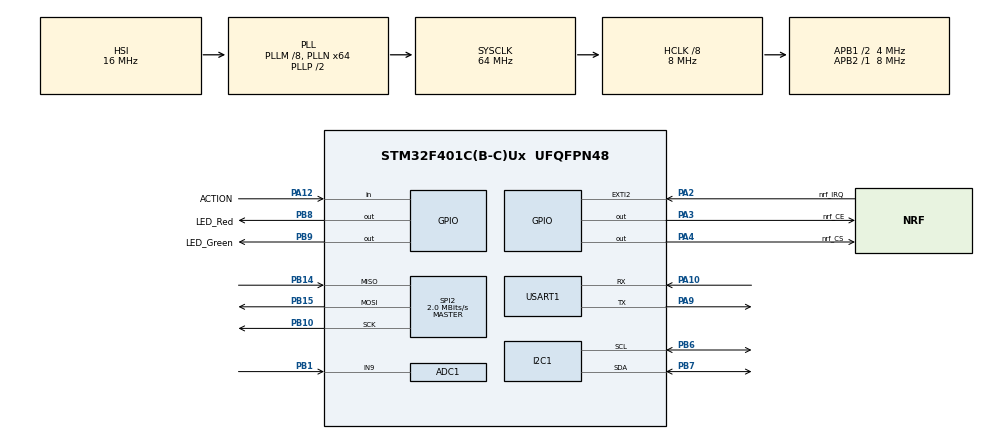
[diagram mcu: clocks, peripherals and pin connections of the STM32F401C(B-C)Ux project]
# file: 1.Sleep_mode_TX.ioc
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ADC1.Channel-0\#ChannelRegularConversion=ADC_CHANNEL_9
ADC1.NbrOfConversionFlag=1
ADC1.Rank-0\#ChannelRegularConversion=1
ADC1.SamplingTime-0\#ChannelRegularConversion=ADC_SAMPLETIME_3CYCLES
ADC1.master=1
Mcu.Family=STM32F4
Mcu.Name=STM32F401C(B-C)Ux
Mcu.Package=UFQFPN48
NVIC.ADC_IRQn=true\:0\:0\:false\:false\:true\:true\:true\:true
NVIC.EXTI2_IRQn=true\:0\:0\:false\:false\:true\:true\:true\:true
NVIC.PriorityGroup=NVIC_PRIORITYGROUP_4
PA0-WKUP.Mode=SYS_WakeUp0
PA0-WKUP.Signal=SYS_WKUP
PA10.Mode=Asynchronous
PA10.Signal=USART1_RX
PA12.GPIO_Label=ACTION
PA12.Signal=GPIO_Input
PA13.Mode=Serial_Wire
PA13.Signal=SYS_JTMS-SWDIO
PA14.Mode=Serial_Wire
PA14.Signal=SYS_JTCK-SWCLK
PA2.GPIO_Label=nrf_IRQ
PA2.GPIO_ModeDefaultEXTI=GPIO_MODE_IT_FALLING
PA2.Signal=GPXTI2
PA3.GPIO_Label=nrf_CE
PA3.Signal=GPIO_Output
PA4.GPIO_Label=nrf_CS
PA4.Signal=GPIO_Output
PA9.Mode=Asynchronous
PA9.Signal=USART1_TX
PB1.Signal=ADCx_IN9
PB10.Mode=Full_Duplex_Master
PB10.Signal=SPI2_SCK
PB14.Mode=Full_Duplex_Master
PB14.Signal=SPI2_MISO
PB15.Mode=Full_Duplex_Master
PB15.Signal=SPI2_MOSI
PB6.Mode=I2C
PB6.Signal=I2C1_SCL
PB7.Mode=I2C
PB7.Signal=I2C1_SDA
PB8.GPIO_Label=LED_Red
PB8.Signal=GPIO_Output
PB9.GPIO_Label=LED_Green
PB9.Signal=GPIO_Output
ProjectManager.HeapSize=0x200
ProjectManager.StackSize=0x400
ProjectManager.TargetToolchain=STM32CubeIDE
RCC.48MHZClocksFreq_Value=32000000
RCC.AHBCLKDivider=RCC_SYSCLK_DIV8
RCC.AHBFreq_Value=8000000
RCC.APB1CLKDivider=RCC_HCLK_DIV2
RCC.APB1Freq_Value=4000000
RCC.APB1TimFreq_Value=8000000
RCC.APB2Freq_Value=8000000
RCC.APB2TimFreq_Value=8000000
RCC.CortexFreq_Value=8000000
RCC.HCLKFreq_Value=8000000
RCC.HSE_VALUE=25000000
RCC.HSI_VALUE=16000000
RCC.LSE_VALUE=32768
RCC.PLLM=8
RCC.PLLN=64
RCC.SYSCLKFreq_VALUE=64000000
RCC.SYSCLKSource=RCC_SYSCLKSOURCE_PLLCLK
RCC.VCOOutputFreq_Value=128000000
SH.ADCx_IN9.0=ADC1_IN9,IN9
SPI2.BaudRatePrescaler=SPI_BAUDRATEPRESCALER_2
SPI2.CalculateBaudRate=2.0 MBits/s
SPI2.Direction=SPI_DIRECTION_2LINES
SPI2.Mode=SPI_MODE_MASTER
SPI2.VirtualType=VM_MASTER
USART1.VirtualMode=VM_ASYNC
VP_RTC_VS_RTC_Activate.Mode=RTC_Enabled
VP_RTC_VS_RTC_WakeUp_intern.Mode=WakeUp
board=custom

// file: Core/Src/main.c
/* USER CODE BEGIN Header */
/**
  ******************************************************************************
  * @file           : main.c
  * @brief          : Main program body
  ******************************************************************************
  * @attention
  *
  * Copyright (c) 2024 STMicroelectronics.
  * All rights reserved.
  *
  * This software is licensed under terms that can be found in the LICENSE file
  * in the root directory of this software component.
  * If no LICENSE file comes with this software, it is provided AS-IS.
  *
  ******************************************************************************
  */
/* USER CODE END Header */
#include "main.h"

/* USER CODE BEGIN Includes */
#include "stm32f4xx_hal.h"
#include "stm32f4xx_hal_gpio.h"

#include "BME280/bme280_defs.h"
#include "BME280/bme280.h"
#include "nrf24L01/nrf24L01.h"
#include "DS3231/ds3231.h"
#include "BME280/main_bme280.h"
#include "BATTERY_VOLTAGE/adc_voltage.h"
#include "RTC_DATA/rtc_data_write_read.h"
#include "LEDs/leds.h"
#include "DS3231/main_ds3231.h"
#include "INTERNAL_RTC_TIME/internal_rtc_time.h"

/* USER CODE END Includes */

/* USER CODE BEGIN PD */

// Set wakeUp time
const float  Wake_up_Time_Base = 16.0f/32000.0f;     //0.0005 s
const int WakeUpCounter_1_sec = 1/Wake_up_Time_Base;
const int WakeUpCounter_5_sec = 5/Wake_up_Time_Base;
const int WakeUpCounter_10_sec = 10/Wake_up_Time_Base;

/* USER CODE END PD */

/* USER CODE BEGIN PM */

void send_data(int delay);

/* USER CODE END PM */

ADC_HandleTypeDef hadc1;

I2C_HandleTypeDef hi2c1;

RTC_HandleTypeDef hrtc;

SPI_HandleTypeDef hspi2;

UART_HandleTypeDef huart1;

void SystemClock_Config(void);
static void MX_GPIO_Init(void);
static void MX_RTC_Init(void);
static void MX_I2C1_Init(void);
static void MX_USART1_UART_Init(void);
static void MX_SPI2_Init(void);
static void MX_ADC1_Init(void);

/* USER CODE BEGIN 0 */

// --------------------------------------------------------------------------------------
void settings_mode(void)
{

}
// --------------------------------------------------------------------------------------
void counter(char* buff)
{

}
// --------------------------------------------------------------------------------------
void send_data(int delay)
{
	  // If button was presset more than 5 sec, go to settings mode
	if(HAL_GPIO_ReadPin(GPIOA, ACTION_Pin) == 1)
	{
#if UART_LOG == ON
		char buf_uart_tx[50] = {0,};
		sprintf(buf_uart_tx, "Settings mode\n\r");
		HAL_UART_Transmit(&huart1, buf_uart_tx, sizeof(buf_uart_tx), 1000);
#endif
		led_test_blink(10, 800);
		settings_mode();
	}

	char tramsmeet_data_buffer[70] = {0,};
	char buf_uart_tx[50] = {0,};

#if LED == ON
	GREEN_LED_ON;
#endif
	get_THP_bme280(tramsmeet_data_buffer); 				// Meassure T, H and P
	meassure_battery_voltage(tramsmeet_data_buffer);  	// Meassure voltage on battery
	//read_time_internal_RTC(tramsmeet_data_buffer);

#if UART_LOG == ON
	memset(buf_uart_tx, 0, sizeof(buf_uart_tx));
	sprintf(buf_uart_tx, "TX data: %s \n\r", tramsmeet_data_buffer);
	HAL_UART_Transmit(&huart1, buf_uart_tx, sizeof(buf_uart_tx), 1000);
#endif
	uint8_t dt = 0 ;
	char buf_1[25] = {0,};

	uint32_t RTC_retransmit_packets_cpunter = ReadBackupRegister(RTC_COUNTER_RETRANSMITED_PACKET);
	uint32_t RTC_lost_packets_cpunter = ReadBackupRegister(RTC_COUNTER_LOST_PACKET);
	uint32_t RTC_counter = ReadBackupRegister(RTC_COUNTER_PACKET);

	memset(buf_1, 0, sizeof(buf_1));
	sprintf(buf_1, "C%dR%dL%d", RTC_counter, RTC_retransmit_packets_cpunter, RTC_lost_packets_cpunter);
	strcat(tramsmeet_data_buffer, buf_1);

	NRF24_init_TX(0, 10, 0, 15, 0, 0);
	dt = NRF24L01_Transmit(1, tramsmeet_data_buffer);

	uint8_t retr_packages  = dt & 0xF;			// Select retransmit packets
	uint8_t lost_packages = dt & 0xF0;			// Select lost packets

	// Save data into RTC memory
	WriteBackupRegister(retr_packages, RTC_COUNTER_RETRANSMITED_PACKET);
	WriteBackupRegister(lost_packages, RTC_COUNTER_LOST_PACKET);
	WriteBackupRegister(RTC_counter+1, RTC_COUNTER_PACKET);

#if UART_LOG == ON
	memset(buf_uart_tx, 0, sizeof(buf_uart_tx));
	sprintf(buf_uart_tx, "COUNTER_PACKET: %d, TX retr: %d, TX lost: %d, \n\r", RTC_counter, retr_packages, lost_packages);
	HAL_UART_Transmit(&huart1, buf_uart_tx, sizeof(buf_uart_tx), 1000);
#endif
	if(lost_packages > 0)		// If lost packages was detected
	{
		RED_LED_ON;
		HAL_Delay(10);
		RED_LED_OFF;
	}
	else
	{
		RED_LED_OFF;
	}

#if LED == ON
	GREEN_LED_OFF;
#endif
	NRF24_Sleep_mode();

	HAL_Delay(delay);
}
// --------------------------------------------------------------------------------------
/* USER CODE END 0 */

int main(void)
{

  /* MCU Configuration--------------------------------------------------------*/

  /* Reset of all peripherals, Initializes the Flash interface and the Systick. */
  HAL_Init();

  /* Configure the system clock */
  SystemClock_Config();

  /* Initialize all configured peripherals */
  MX_GPIO_Init();
  MX_RTC_Init();
  MX_I2C1_Init();
  MX_USART1_UART_Init();
  MX_SPI2_Init();
  MX_ADC1_Init();
  /* USER CODE BEGIN 2 */

#if SLEEP_MODE == ON
	if (__HAL_PWR_GET_FLAG(PWR_FLAG_SB) != RESET)			// Is device woke up from standby mode ?
	{
		__HAL_PWR_CLEAR_FLAG(PWR_FLAG_SB);  				// clear the flag

		HAL_PWR_DisableWakeUpPin(PWR_WAKEUP_PIN1);  		// disable PA0
		HAL_RTCEx_DeactivateWakeUpTimer(&hrtc);				// Deactivate the RTC wakeup

		// If button was presset more than 5 sec, go to settings mode
		if(HAL_GPIO_ReadPin(GPIOA, ACTION_Pin) == 1)
		{
	#if UART_LOG == ON
			char buf_uart_tx[50] = {0,};
			sprintf(buf_uart_tx, "Settings mode\n\r");
			HAL_UART_Transmit(&huart1, buf_uart_tx, sizeof(buf_uart_tx), 1000);
	#endif

			led_test_blink(10, 800);
			settings_mode();
		}

		  uint32_t period = ReadBackupRegister(RTC_COUNTER_SECOND);

		  if(period >= SLEEP_TIME)		// Wake up time condition
		  {
			  char tramsmeet_data_buffer[70] = {0,};
			  char buf_uart_tx[50] = {0,};

	#if LED == ON
			  GREEN_LED_ON;
	#endif
			  get_THP_bme280(tramsmeet_data_buffer); 				// Meassure T, H and P
			  meassure_battery_voltage(tramsmeet_data_buffer);  	// Meassure voltage on battery
			  //read_time_internal_RTC(tramsmeet_data_buffer);

	#if UART_LOG == ON
			  memset(buf_uart_tx, 0, sizeof(buf_uart_tx));
			  sprintf(buf_uart_tx, "TX data: %s \n\r", tramsmeet_data_buffer);
			  HAL_UART_Transmit(&huart1, buf_uart_tx, sizeof(buf_uart_tx), 1000);
	#endif
			  uint8_t dt = 0 ;
			  char buf_1[25] = {0,};

			  uint32_t RTC_retransmit_packets_cpunter = ReadBackupRegister(RTC_COUNTER_RETRANSMITED_PACKET);
			  uint32_t RTC_lost_packets_cpunter = ReadBackupRegister(RTC_COUNTER_LOST_PACKET);
			  uint32_t RTC_counter = ReadBackupRegister(RTC_COUNTER_PACKET);

			  memset(buf_1, 0, sizeof(buf_1));
			  sprintf(buf_1, "C%dR%dL%d", RTC_counter, RTC_retransmit_packets_cpunter, RTC_lost_packets_cpunter);
			  strcat(tramsmeet_data_buffer, buf_1);

			  NRF24_init_TX(0, 10, 0, 15, 0, 0);
			  dt = NRF24L01_Transmit(1, tramsmeet_data_buffer);

			  uint8_t retr_packages  = dt & 0xF;			// Select retransmit packets
			  uint8_t lost_packages = dt & 0xF0;			// Select lost packets

			  // Save data into RTC memory
			  WriteBackupRegister(retr_packages, RTC_COUNTER_RETRANSMITED_PACKET);
			  WriteBackupRegister(lost_packages, RTC_COUNTER_LOST_PACKET);
			  WriteBackupRegister(RTC_counter+1, RTC_COUNTER_PACKET);

	#if UART_LOG == ON
			  memset(buf_uart_tx, 0, sizeof(buf_uart_tx));
			  sprintf(buf_uart_tx, "COUNTER_PACKET: %d, TX retr: %d, TX lost: %d, \n\r", RTC_counter, retr_packages, lost_packages);
			  HAL_UART_Transmit(&huart1, buf_uart_tx, sizeof(buf_uart_tx), 1000);
	#endif
			  if(lost_packages > 0)		// If lost packages was detected
			  {
				  RED_LED_ON;
				  HAL_Delay(10);
				  RED_LED_OFF;
			  }
			  else
			  {
				  RED_LED_OFF;
			  }

	#if LED == ON
			  GREEN_LED_OFF;
	#endif
			  NRF24_Sleep_mode();

			  WriteBackupRegister(0, RTC_COUNTER_SECOND);
		  }
		  else
		  {
			  WriteBackupRegister(period+1, RTC_COUNTER_SECOND);		// Update counter of seconds
		  }
		  /** Disable the WWAKEUP PIN **/
		  HAL_PWR_DisableWakeUpPin(PWR_WAKEUP_PIN1);  // disable PA0
		  /** Deactivate the RTC wakeup  **/
		  HAL_RTCEx_DeactivateWakeUpTimer(&hrtc);
	   }

	  /** Now enter the standby mode **/
		/* Clear the WU FLAG */
	   __HAL_PWR_CLEAR_FLAG(PWR_FLAG_WU);

		/* clear the RTC Wake UP (WU) flag */
	   __HAL_RTC_WAKEUPTIMER_CLEAR_FLAG(&hrtc, RTC_FLAG_WUTF);

		/* Enable the WAKEUP PIN */
	   HAL_PWR_EnableWakeUpPin(PWR_WAKEUP_PIN1);

	   if (HAL_RTCEx_SetWakeUpTimer_IT(&hrtc, WakeUpCounter_5_sec, RTC_WAKEUPCLOCK_RTCCLK_DIV16) != HAL_OK)
	   {
		 Error_Handler();
	   }

	   /* Finally enter the standby mode */
	   HAL_PWR_EnterSTANDBYMode();

#else

#endif
  /* USER CODE END 2 */

  /* Infinite loop */
  /* USER CODE BEGIN WHILE */
  while (1)
  {
#if SLEEP_MODE == OFF
	  send_data(100);
#endif

    /* USER CODE END WHILE */

  }
}

void SystemClock_Config(void)
{
  RCC_OscInitTypeDef RCC_OscInitStruct = {0};
  RCC_ClkInitTypeDef RCC_ClkInitStruct = {0};

  /** Configure the main internal regulator output voltage
  */
  __HAL_RCC_PWR_CLK_ENABLE();
  __HAL_PWR_VOLTAGESCALING_CONFIG(PWR_REGULATOR_VOLTAGE_SCALE2);

  /** Initializes the RCC Oscillators according to the specified parameters
  * in the RCC_OscInitTypeDef structure.
  */
  RCC_OscInitStruct.OscillatorType = RCC_OSCILLATORTYPE_HSI|RCC_OSCILLATORTYPE_LSI;
  RCC_OscInitStruct.HSIState = RCC_HSI_ON;
  RCC_OscInitStruct.HSICalibrationValue = RCC_HSICALIBRATION_DEFAULT;
  RCC_OscInitStruct.LSIState = RCC_LSI_ON;
  RCC_OscInitStruct.PLL.PLLState = RCC_PLL_ON;
  RCC_OscInitStruct.PLL.PLLSource = RCC_PLLSOURCE_HSI;
  RCC_OscInitStruct.PLL.PLLM = 8;
  RCC_OscInitStruct.PLL.PLLN = 64;
  RCC_OscInitStruct.PLL.PLLP = RCC_PLLP_DIV2;
  RCC_OscInitStruct.PLL.PLLQ = 4;
  if (HAL_RCC_OscConfig(&RCC_OscInitStruct) != HAL_OK)
  {
    Error_Handler();
  }

  /** Initializes the CPU, AHB and APB buses clocks
  */
  RCC_ClkInitStruct.ClockType = RCC_CLOCKTYPE_HCLK|RCC_CLOCKTYPE_SYSCLK
                              |RCC_CLOCKTYPE_PCLK1|RCC_CLOCKTYPE_PCLK2;
  RCC_ClkInitStruct.SYSCLKSource = RCC_SYSCLKSOURCE_PLLCLK;
  RCC_ClkInitStruct.AHBCLKDivider = RCC_SYSCLK_DIV8;
  RCC_ClkInitStruct.APB1CLKDivider = RCC_HCLK_DIV2;
  RCC_ClkInitStruct.APB2CLKDivider = RCC_HCLK_DIV1;

  if (HAL_RCC_ClockConfig(&RCC_ClkInitStruct, FLASH_LATENCY_0) != HAL_OK)
  {
    Error_Handler();
  }
}

static void MX_ADC1_Init(void)
{

  ADC_ChannelConfTypeDef sConfig = {0};

  /** Configure the global features of the ADC (Clock, Resolution, Data Alignment and number of conversion)
  */
  hadc1.Instance = ADC1;
  hadc1.Init.ClockPrescaler = ADC_CLOCK_SYNC_PCLK_DIV2;
  hadc1.Init.Resolution = ADC_RESOLUTION_12B;
  hadc1.Init.ScanConvMode = DISABLE;
  hadc1.Init.ContinuousConvMode = DISABLE;
  hadc1.Init.DiscontinuousConvMode = DISABLE;
  hadc1.Init.ExternalTrigConvEdge = ADC_EXTERNALTRIGCONVEDGE_NONE;
  hadc1.Init.ExternalTrigConv = ADC_SOFTWARE_START;
  hadc1.Init.DataAlign = ADC_DATAALIGN_RIGHT;
  hadc1.Init.NbrOfConversion = 1;
  hadc1.Init.DMAContinuousRequests = DISABLE;
  hadc1.Init.EOCSelection = ADC_EOC_SINGLE_CONV;
  if (HAL_ADC_Init(&hadc1) != HAL_OK)
  {
    Error_Handler();
  }

  /** Configure for the selected ADC regular channel its corresponding rank in the sequencer and its sample time.
  */
  sConfig.Channel = ADC_CHANNEL_9;
  sConfig.Rank = 1;
  sConfig.SamplingTime = ADC_SAMPLETIME_3CYCLES;
  if (HAL_ADC_ConfigChannel(&hadc1, &sConfig) != HAL_OK)
  {
    Error_Handler();
  }

}

static void MX_I2C1_Init(void)
{

  hi2c1.Instance = I2C1;
  hi2c1.Init.ClockSpeed = 100000;
  hi2c1.Init.DutyCycle = I2C_DUTYCYCLE_2;
  hi2c1.Init.OwnAddress1 = 0;
  hi2c1.Init.AddressingMode = I2C_ADDRESSINGMODE_7BIT;
  hi2c1.Init.DualAddressMode = I2C_DUALADDRESS_DISABLE;
  hi2c1.Init.OwnAddress2 = 0;
  hi2c1.Init.GeneralCallMode = I2C_GENERALCALL_DISABLE;
  hi2c1.Init.NoStretchMode = I2C_NOSTRETCH_DISABLE;
  if (HAL_I2C_Init(&hi2c1) != HAL_OK)
  {
    Error_Handler();
  }

}

static void MX_RTC_Init(void)
{

  RTC_TimeTypeDef sTime = {0};
  RTC_DateTypeDef sDate = {0};

  /** Initialize RTC Only
  */
  hrtc.Instance = RTC;
  hrtc.Init.HourFormat = RTC_HOURFORMAT_24;
  hrtc.Init.AsynchPrediv = 127;
  hrtc.Init.SynchPrediv = 255;
  hrtc.Init.OutPut = RTC_OUTPUT_DISABLE;
  hrtc.Init.OutPutPolarity = RTC_OUTPUT_POLARITY_HIGH;
  hrtc.Init.OutPutType = RTC_OUTPUT_TYPE_OPENDRAIN;
  if (HAL_RTC_Init(&hrtc) != HAL_OK)
  {
    Error_Handler();
  }

  /* USER CODE BEGIN Check_RTC_BKUP */
  if(__HAL_RCC_GET_FLAG(RCC_FLAG_BORRST) == RESET)		// If RTC doesn't set
  {
  /* USER CODE END Check_RTC_BKUP */

  /** Initialize RTC and set the Time and Date
  */
  sTime.Hours = 0x01;
  sTime.Minutes = 0x02;
  sTime.Seconds = 0x03;
  sTime.DayLightSaving = RTC_DAYLIGHTSAVING_NONE;
  sTime.StoreOperation = RTC_STOREOPERATION_RESET;
  if (HAL_RTC_SetTime(&hrtc, &sTime, RTC_FORMAT_BCD) != HAL_OK)
  {
    Error_Handler();
  }
  sDate.WeekDay = RTC_WEEKDAY_MONDAY;
  sDate.Month = RTC_MONTH_JANUARY;
  sDate.Date = 0x17;
  sDate.Year = 0x24;

  if (HAL_RTC_SetDate(&hrtc, &sDate, RTC_FORMAT_BCD) != HAL_OK)
  {
    Error_Handler();
  }

  /** Enable the WakeUp
  */
  if (HAL_RTCEx_SetWakeUpTimer(&hrtc, 0, RTC_WAKEUPCLOCK_RTCCLK_DIV16) != HAL_OK)
  {
    Error_Handler();
  }
  /* USER CODE BEGIN RTC_Init 2 */
  }
  else
  {

  }
  /* USER CODE END RTC_Init 2 */

}

static void MX_SPI2_Init(void)
{

  /* SPI2 parameter configuration*/
  hspi2.Instance = SPI2;
  hspi2.Init.Mode = SPI_MODE_MASTER;
  hspi2.Init.Direction = SPI_DIRECTION_2LINES;
  hspi2.Init.DataSize = SPI_DATASIZE_8BIT;
  hspi2.Init.CLKPolarity = SPI_POLARITY_LOW;
  hspi2.Init.CLKPhase = SPI_PHASE_1EDGE;
  hspi2.Init.NSS = SPI_NSS_SOFT;
  hspi2.Init.BaudRatePrescaler = SPI_BAUDRATEPRESCALER_2;
  hspi2.Init.FirstBit = SPI_FIRSTBIT_MSB;
  hspi2.Init.TIMode = SPI_TIMODE_DISABLE;
  hspi2.Init.CRCCalculation = SPI_CRCCALCULATION_DISABLE;
  hspi2.Init.CRCPolynomial = 10;
  if (HAL_SPI_Init(&hspi2) != HAL_OK)
  {
    Error_Handler();
  }

}

static void MX_USART1_UART_Init(void)
{

  huart1.Instance = USART1;
  huart1.Init.BaudRate = 115200;
  huart1.Init.WordLength = UART_WORDLENGTH_8B;
  huart1.Init.StopBits = UART_STOPBITS_1;
  huart1.Init.Parity = UART_PARITY_NONE;
  huart1.Init.Mode = UART_MODE_TX_RX;
  huart1.Init.HwFlowCtl = UART_HWCONTROL_NONE;
  huart1.Init.OverSampling = UART_OVERSAMPLING_16;
  if (HAL_UART_Init(&huart1) != HAL_OK)
  {
    Error_Handler();
  }

}

static void MX_GPIO_Init(void)
{
  GPIO_InitTypeDef GPIO_InitStruct = {0};

  /* GPIO Ports Clock Enable */
  __HAL_RCC_GPIOA_CLK_ENABLE();
  __HAL_RCC_GPIOB_CLK_ENABLE();

  /*Configure GPIO pin Output Level */
  HAL_GPIO_WritePin(GPIOA, nrf_CE_Pin|nrf_CS_Pin, GPIO_PIN_RESET);

  /*Configure GPIO pin Output Level */
  HAL_GPIO_WritePin(GPIOB, LED_Red_Pin|LED_Green_Pin, GPIO_PIN_RESET);

  /*Configure GPIO pin : nrf_IRQ_Pin */
  GPIO_InitStruct.Pin = nrf_IRQ_Pin;
  GPIO_InitStruct.Mode = GPIO_MODE_IT_FALLING;
  GPIO_InitStruct.Pull = GPIO_NOPULL;
  HAL_GPIO_Init(nrf_IRQ_GPIO_Port, &GPIO_InitStruct);

  /*Configure GPIO pins : nrf_CE_Pin nrf_CS_Pin */
  GPIO_InitStruct.Pin = nrf_CE_Pin|nrf_CS_Pin;
  GPIO_InitStruct.Mode = GPIO_MODE_OUTPUT_PP;
  GPIO_InitStruct.Pull = GPIO_NOPULL;
  GPIO_InitStruct.Speed = GPIO_SPEED_FREQ_LOW;
  HAL_GPIO_Init(GPIOA, &GPIO_InitStruct);

  /*Configure GPIO pin : ACTION_Pin */
  GPIO_InitStruct.Pin = ACTION_Pin;
  GPIO_InitStruct.Mode = GPIO_MODE_INPUT;
  GPIO_InitStruct.Pull = GPIO_NOPULL;
  HAL_GPIO_Init(ACTION_GPIO_Port, &GPIO_InitStruct);

  /*Configure GPIO pins : LED_Red_Pin LED_Green_Pin */
  GPIO_InitStruct.Pin = LED_Red_Pin|LED_Green_Pin;
  GPIO_InitStruct.Mode = GPIO_MODE_OUTPUT_PP;
  GPIO_InitStruct.Pull = GPIO_NOPULL;
  GPIO_InitStruct.Speed = GPIO_SPEED_FREQ_LOW;
  HAL_GPIO_Init(GPIOB, &GPIO_InitStruct);

  /* EXTI interrupt init*/
  HAL_NVIC_SetPriority(EXTI2_IRQn, 0, 0);
  HAL_NVIC_EnableIRQ(EXTI2_IRQn);

}

void Error_Handler(void)
{
  __disable_irq();
  while (1)
  {
  }
}
